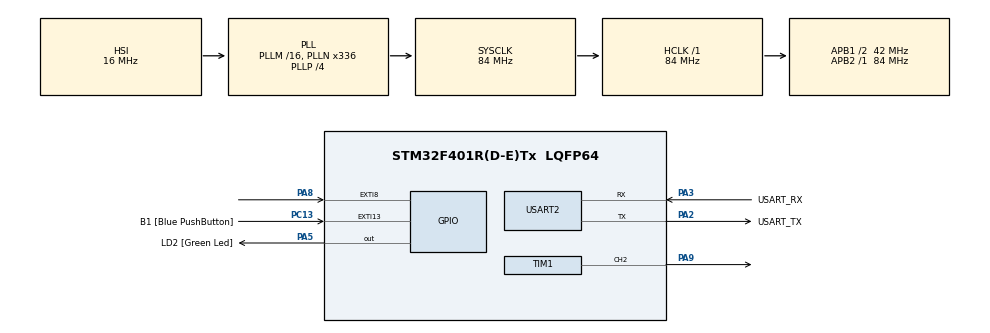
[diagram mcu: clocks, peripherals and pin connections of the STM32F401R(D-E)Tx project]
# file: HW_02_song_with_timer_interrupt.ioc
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Mcu.Family=STM32F4
Mcu.Name=STM32F401R(D-E)Tx
Mcu.Package=LQFP64
NVIC.EXTI9_5_IRQn=true\:0\:0\:false\:false\:true\:true\:true\:true
NVIC.PriorityGroup=NVIC_PRIORITYGROUP_0
NVIC.TIM2_IRQn=true\:0\:0\:false\:false\:true\:true\:true\:true
PA13.GPIO_Label=TMS
PA13.Mode=Serial_Wire
PA13.Signal=SYS_JTMS-SWDIO
PA14.GPIO_Label=TCK
PA14.Mode=Serial_Wire
PA14.Signal=SYS_JTCK-SWCLK
PA2.GPIO_Label=USART_TX
PA2.GPIO_Mode=GPIO_MODE_AF_PP
PA2.GPIO_PuPd=GPIO_NOPULL
PA2.GPIO_Speed=GPIO_SPEED_FREQ_LOW
PA2.Mode=Asynchronous
PA2.Signal=USART2_TX
PA3.GPIO_Label=USART_RX
PA3.GPIO_Mode=GPIO_MODE_AF_PP
PA3.GPIO_PuPd=GPIO_NOPULL
PA3.GPIO_Speed=GPIO_SPEED_FREQ_LOW
PA3.Mode=Asynchronous
PA3.Signal=USART2_RX
PA5.GPIO_Label=LD2 [Green Led]
PA5.GPIO_Mode=GPIO_MODE_OUTPUT_PP
PA5.GPIO_PuPd=GPIO_NOPULL
PA5.GPIO_Speed=GPIO_SPEED_FREQ_LOW
PA5.Signal=GPIO_Output
PA8.GPIO_ModeDefaultEXTI=GPIO_MODE_IT_RISING
PA8.Signal=GPXTI8
PA9.Signal=S_TIM1_CH2
PB3.GPIO_Label=SWO
PB3.Signal=SYS_JTDO-SWO
PC13-ANTI_TAMP.GPIO_Label=B1 [Blue PushButton]
PC13-ANTI_TAMP.GPIO_ModeDefaultEXTI=GPIO_MODE_IT_FALLING
PC13-ANTI_TAMP.GPIO_PuPd=GPIO_NOPULL
PC13-ANTI_TAMP.Signal=GPXTI13
PC14-OSC32_IN.Mode=LSE-External-Oscillator
PC14-OSC32_IN.Signal=RCC_OSC32_IN
PC15-OSC32_OUT.Mode=LSE-External-Oscillator
PC15-OSC32_OUT.Signal=RCC_OSC32_OUT
PC7.Signal=S_TIM3_CH2
PH0\ -\ OSC_IN.Mode=HSE-External-Clock-Source
PH0\ -\ OSC_IN.Signal=RCC_OSC_IN
PH1\ -\ OSC_OUT.Mode=HSE-External-Clock-Source
PH1\ -\ OSC_OUT.Signal=RCC_OSC_OUT
ProjectManager.HeapSize=0x200
ProjectManager.StackSize=0x400
ProjectManager.TargetToolchain=STM32CubeIDE
RCC.48MHZClocksFreq_Value=48000000
RCC.AHBFreq_Value=84000000
RCC.APB1CLKDivider=RCC_HCLK_DIV2
RCC.APB1Freq_Value=42000000
RCC.APB1TimFreq_Value=84000000
RCC.APB2Freq_Value=84000000
RCC.APB2TimFreq_Value=84000000
RCC.CortexFreq_Value=84000000
RCC.HCLKFreq_Value=84000000
RCC.HSE_VALUE=8000000
RCC.HSI_VALUE=16000000
RCC.PLLN=336
RCC.PLLP=RCC_PLLP_DIV4
RCC.PLLQ=7
RCC.SYSCLKFreq_VALUE=84000000
RCC.SYSCLKSource=RCC_SYSCLKSOURCE_PLLCLK
RCC.VCOOutputFreq_Value=336000000
SH.S_TIM1_CH2.0=TIM1_CH2,PWM Generation2 CH2
SH.S_TIM3_CH2.0=TIM3_CH2
TIM1.Channel-PWM\ Generation2\ CH2=TIM_CHANNEL_2
TIM1.Prescaler=100-1
TIM2.Prescaler=40000-1
USART2.VirtualMode=VM_ASYNC
VP_TIM1_VS_ClockSourceINT.Mode=Internal
VP_TIM2_VS_ClockSourceINT.Mode=Internal
board=NUCLEO-F401RE

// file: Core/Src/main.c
/* USER CODE BEGIN Header */
/**
 ******************************************************************************
 * @file           : main.c
 * @brief          : Main program body
 ******************************************************************************
 * @attention
 *
 * Copyright (c) 2022 STMicroelectronics.
 * All rights reserved.
 *
 * This software is licensed under terms that can be found in the LICENSE file
 * in the root directory of this software component.
 * If no LICENSE file comes with this software, it is provided AS-IS.
 *
 ******************************************************************************
 */
/* USER CODE END Header */
#include "main.h"

/* USER CODE BEGIN PTD */
struct note {
	int tones;
	int duration;
};
/* USER CODE END PTD */

/* USER CODE BEGIN PD */
#define DO 3205
#define DOD 3031
#define RE 2856
#define RED 2699
#define MI 2544
#define FA 2405
#define FAD 2269
#define SOL 2141
#define SOLD 2023
#define LA 1908
#define LAD 1801
#define SI 1699

#define MINTIME 75

/* USER CODE END PD */

TIM_HandleTypeDef htim1;
TIM_HandleTypeDef htim2;

UART_HandleTypeDef huart2;

/* USER CODE BEGIN PV */
struct note song[] = { { SOL, 6 }, { LA, 2 }, { SOL, 4 }, { FA, 4 }, { MI, 4 }, { FA, 4 }, { SOL, 8 }, { RE, 4 }, { MI, 4 }, { FA, 8 }, { MI, 4 }, { FA, 4 }, { SOL, 8 }, { SOL, 6 }, { LA, 2 }, { SOL,
		4 }, { FA, 4 }, {
MI, 4 }, { FA, 4 }, { SOL, 8 }, { RE, 8 }, { SOL, 8 }, { MI, 4 }, { DO, 10 }

};
/* USER CODE END PV */

void SystemClock_Config(void);
static void MX_GPIO_Init(void);
static void MX_USART2_UART_Init(void);
static void MX_TIM1_Init(void);
static void MX_TIM2_Init(void);

/* USER CODE BEGIN 0 */

/*defining division duration*/
int time_constant = 150;

int flag_note = 0; // checks whether the single note is being played and waits for the timer interrupt
int flag_Mic = 1; // check whether the song is being played

void playNote(struct note setNote) {

	// Setting TIM1 PWM for note generation
	__HAL_TIM_SET_AUTORELOAD(&htim1, setNote.tones);
	__HAL_TIM_SET_COMPARE(&htim1, TIM_CHANNEL_2, setNote.tones / 2.0);
	__HAL_TIM_SET_COUNTER(&htim1, 0);

	// Setting TIM2 Time Base for waiting for note finishing playing
	__HAL_TIM_SET_AUTORELOAD(&htim2, time_constant * setNote.duration);
	__HAL_TIM_SET_COUNTER(&htim2, 0);
	// this will reset base timer settings, deleting this will not start the new interrupt handler
	__HAL_TIM_CLEAR_FLAG(&htim2, TIM_FLAG_UPDATE);

	//Start PWM timer1 and base timer 2
	HAL_TIM_Base_Start_IT(&htim2);
	HAL_TIM_PWM_Start(&htim1, TIM_CHANNEL_2);
	flag_note = 1;

	// We will stop the PWM when TIM2 expires
	while (flag_note == 1) {

	}
	HAL_TIM_PWM_Stop(&htim1, TIM_CHANNEL_2);

}

/*
 * Called when the timer 2 expires, stopping the note being played
 */
void HAL_TIM_PeriodElapsedCallback(TIM_HandleTypeDef *htim) {
	HAL_TIM_PWM_Stop(&htim1, TIM_CHANNEL_2);
	HAL_TIM_Base_Stop_IT(&htim2);
	flag_note = 0;
}

// plays the sequence of notes
void playSong() {
	int length = sizeof(song) / sizeof(struct note);

	for (int i = 0; i < length; i++) {
		playNote(song[i]);
	}
}

// interrupt callback of the microphone
void HAL_GPIO_EXTI_Callback(uint16_t GPIO_Pin) {
	// disable interrupt handler when the song is being played
	if (flag_Mic == 1) {
		HAL_GPIO_TogglePin(GPIOA, GPIO_PIN_5);
		flag_Mic = 0;
		HAL_NVIC_DisableIRQ(EXTI9_5_IRQn);
	}

}

/* USER CODE END 0 */

int main(void) {

	/* MCU Configuration--------------------------------------------------------*/

	/* Reset of all peripherals, Initializes the Flash interface and the Systick. */
	HAL_Init();

	/* Configure the system clock */
	SystemClock_Config();

	/* Initialize all configured peripherals */
	MX_GPIO_Init();
	MX_USART2_UART_Init();
	MX_TIM1_Init();
	MX_TIM2_Init();

	/* Infinite loop */
	/* USER CODE BEGIN WHILE */

	while (1) {
		// if the song is finished, enables the interrupt for the microphone in order to play the song again
		if (flag_Mic == 0) {
			playSong();
			HAL_NVIC_EnableIRQ(EXTI9_5_IRQn);
			flag_Mic = 1;
		}
		/* USER CODE END WHILE */

	}
}

void SystemClock_Config(void) {
	RCC_OscInitTypeDef RCC_OscInitStruct = { 0 };
	RCC_ClkInitTypeDef RCC_ClkInitStruct = { 0 };

	/** Configure the main internal regulator output voltage
	 */
	__HAL_RCC_PWR_CLK_ENABLE();
	__HAL_PWR_VOLTAGESCALING_CONFIG(PWR_REGULATOR_VOLTAGE_SCALE2);

	/** Initializes the RCC Oscillators according to the specified parameters
	 * in the RCC_OscInitTypeDef structure.
	 */
	RCC_OscInitStruct.OscillatorType = RCC_OSCILLATORTYPE_HSI;
	RCC_OscInitStruct.HSIState = RCC_HSI_ON;
	RCC_OscInitStruct.HSICalibrationValue = RCC_HSICALIBRATION_DEFAULT;
	RCC_OscInitStruct.PLL.PLLState = RCC_PLL_ON;
	RCC_OscInitStruct.PLL.PLLSource = RCC_PLLSOURCE_HSI;
	RCC_OscInitStruct.PLL.PLLM = 16;
	RCC_OscInitStruct.PLL.PLLN = 336;
	RCC_OscInitStruct.PLL.PLLP = RCC_PLLP_DIV4;
	RCC_OscInitStruct.PLL.PLLQ = 7;
	if (HAL_RCC_OscConfig(&RCC_OscInitStruct) != HAL_OK) {
		Error_Handler();
	}

	/** Initializes the CPU, AHB and APB buses clocks
	 */
	RCC_ClkInitStruct.ClockType = RCC_CLOCKTYPE_HCLK | RCC_CLOCKTYPE_SYSCLK | RCC_CLOCKTYPE_PCLK1 | RCC_CLOCKTYPE_PCLK2;
	RCC_ClkInitStruct.SYSCLKSource = RCC_SYSCLKSOURCE_PLLCLK;
	RCC_ClkInitStruct.AHBCLKDivider = RCC_SYSCLK_DIV1;
	RCC_ClkInitStruct.APB1CLKDivider = RCC_HCLK_DIV2;
	RCC_ClkInitStruct.APB2CLKDivider = RCC_HCLK_DIV1;

	if (HAL_RCC_ClockConfig(&RCC_ClkInitStruct, FLASH_LATENCY_2) != HAL_OK) {
		Error_Handler();
	}
}

static void MX_TIM1_Init(void) {

	TIM_ClockConfigTypeDef sClockSourceConfig = { 0 };
	TIM_MasterConfigTypeDef sMasterConfig = { 0 };
	TIM_OC_InitTypeDef sConfigOC = { 0 };
	TIM_BreakDeadTimeConfigTypeDef sBreakDeadTimeConfig = { 0 };

	htim1.Instance = TIM1;
	htim1.Init.Prescaler = 100 - 1;
	htim1.Init.CounterMode = TIM_COUNTERMODE_UP;
	htim1.Init.Period = 65535;
	htim1.Init.ClockDivision = TIM_CLOCKDIVISION_DIV1;
	htim1.Init.RepetitionCounter = 0;
	htim1.Init.AutoReloadPreload = TIM_AUTORELOAD_PRELOAD_DISABLE;
	if (HAL_TIM_Base_Init(&htim1) != HAL_OK) {
		Error_Handler();
	}
	sClockSourceConfig.ClockSource = TIM_CLOCKSOURCE_INTERNAL;
	if (HAL_TIM_ConfigClockSource(&htim1, &sClockSourceConfig) != HAL_OK) {
		Error_Handler();
	}
	if (HAL_TIM_PWM_Init(&htim1) != HAL_OK) {
		Error_Handler();
	}
	sMasterConfig.MasterOutputTrigger = TIM_TRGO_RESET;
	sMasterConfig.MasterSlaveMode = TIM_MASTERSLAVEMODE_DISABLE;
	if (HAL_TIMEx_MasterConfigSynchronization(&htim1, &sMasterConfig) != HAL_OK) {
		Error_Handler();
	}
	sConfigOC.OCMode = TIM_OCMODE_PWM1;
	sConfigOC.Pulse = 0;
	sConfigOC.OCPolarity = TIM_OCPOLARITY_HIGH;
	sConfigOC.OCNPolarity = TIM_OCNPOLARITY_HIGH;
	sConfigOC.OCFastMode = TIM_OCFAST_DISABLE;
	sConfigOC.OCIdleState = TIM_OCIDLESTATE_RESET;
	sConfigOC.OCNIdleState = TIM_OCNIDLESTATE_RESET;
	if (HAL_TIM_PWM_ConfigChannel(&htim1, &sConfigOC, TIM_CHANNEL_2) != HAL_OK) {
		Error_Handler();
	}
	sBreakDeadTimeConfig.OffStateRunMode = TIM_OSSR_DISABLE;
	sBreakDeadTimeConfig.OffStateIDLEMode = TIM_OSSI_DISABLE;
	sBreakDeadTimeConfig.LockLevel = TIM_LOCKLEVEL_OFF;
	sBreakDeadTimeConfig.DeadTime = 0;
	sBreakDeadTimeConfig.BreakState = TIM_BREAK_DISABLE;
	sBreakDeadTimeConfig.BreakPolarity = TIM_BREAKPOLARITY_HIGH;
	sBreakDeadTimeConfig.AutomaticOutput = TIM_AUTOMATICOUTPUT_DISABLE;
	if (HAL_TIMEx_ConfigBreakDeadTime(&htim1, &sBreakDeadTimeConfig) != HAL_OK) {
		Error_Handler();
	}
	HAL_TIM_MspPostInit(&htim1);

}

static void MX_TIM2_Init(void) {

	TIM_ClockConfigTypeDef sClockSourceConfig = { 0 };
	TIM_MasterConfigTypeDef sMasterConfig = { 0 };

	htim2.Instance = TIM2;
	htim2.Init.Prescaler = 40000 - 1;
	htim2.Init.CounterMode = TIM_COUNTERMODE_UP;
	htim2.Init.Period = 4294967295;
	htim2.Init.ClockDivision = TIM_CLOCKDIVISION_DIV1;
	htim2.Init.AutoReloadPreload = TIM_AUTORELOAD_PRELOAD_DISABLE;
	if (HAL_TIM_Base_Init(&htim2) != HAL_OK) {
		Error_Handler();
	}
	sClockSourceConfig.ClockSource = TIM_CLOCKSOURCE_INTERNAL;
	if (HAL_TIM_ConfigClockSource(&htim2, &sClockSourceConfig) != HAL_OK) {
		Error_Handler();
	}
	sMasterConfig.MasterOutputTrigger = TIM_TRGO_RESET;
	sMasterConfig.MasterSlaveMode = TIM_MASTERSLAVEMODE_DISABLE;
	if (HAL_TIMEx_MasterConfigSynchronization(&htim2, &sMasterConfig) != HAL_OK) {
		Error_Handler();
	}

}

static void MX_USART2_UART_Init(void) {

	huart2.Instance = USART2;
	huart2.Init.BaudRate = 115200;
	huart2.Init.WordLength = UART_WORDLENGTH_8B;
	huart2.Init.StopBits = UART_STOPBITS_1;
	huart2.Init.Parity = UART_PARITY_NONE;
	huart2.Init.Mode = UART_MODE_TX_RX;
	huart2.Init.HwFlowCtl = UART_HWCONTROL_NONE;
	huart2.Init.OverSampling = UART_OVERSAMPLING_16;
	if (HAL_UART_Init(&huart2) != HAL_OK) {
		Error_Handler();
	}

}

static void MX_GPIO_Init(void) {
	GPIO_InitTypeDef GPIO_InitStruct = { 0 };

	/* GPIO Ports Clock Enable */
	__HAL_RCC_GPIOC_CLK_ENABLE();
	__HAL_RCC_GPIOH_CLK_ENABLE();
	__HAL_RCC_GPIOA_CLK_ENABLE();
	__HAL_RCC_GPIOB_CLK_ENABLE();

	/*Configure GPIO pin Output Level */
	HAL_GPIO_WritePin(LD2_GPIO_Port, LD2_Pin, GPIO_PIN_RESET);

	/*Configure GPIO pin : B1_Pin */
	GPIO_InitStruct.Pin = B1_Pin;
	GPIO_InitStruct.Mode = GPIO_MODE_IT_FALLING;
	GPIO_InitStruct.Pull = GPIO_NOPULL;
	HAL_GPIO_Init(B1_GPIO_Port, &GPIO_InitStruct);

	/*Configure GPIO pin : LD2_Pin */
	GPIO_InitStruct.Pin = LD2_Pin;
	GPIO_InitStruct.Mode = GPIO_MODE_OUTPUT_PP;
	GPIO_InitStruct.Pull = GPIO_NOPULL;
	GPIO_InitStruct.Speed = GPIO_SPEED_FREQ_LOW;
	HAL_GPIO_Init(LD2_GPIO_Port, &GPIO_InitStruct);

	/*Configure GPIO pin : PC7 */
	GPIO_InitStruct.Pin = GPIO_PIN_7;
	GPIO_InitStruct.Mode = GPIO_MODE_AF_PP;
	GPIO_InitStruct.Pull = GPIO_NOPULL;
	GPIO_InitStruct.Speed = GPIO_SPEED_FREQ_LOW;
	GPIO_InitStruct.Alternate = GPIO_AF2_TIM3;
	HAL_GPIO_Init(GPIOC, &GPIO_InitStruct);

	/*Configure GPIO pin : PA8 */
	GPIO_InitStruct.Pin = GPIO_PIN_8;
	GPIO_InitStruct.Mode = GPIO_MODE_IT_RISING;
	GPIO_InitStruct.Pull = GPIO_NOPULL;
	HAL_GPIO_Init(GPIOA, &GPIO_InitStruct);

	/* EXTI interrupt init*/
	HAL_NVIC_SetPriority(EXTI9_5_IRQn, 0, 0);
	HAL_NVIC_EnableIRQ(EXTI9_5_IRQn);

}

void Error_Handler(void) {
	__disable_irq();
	while (1) {
	}
}
